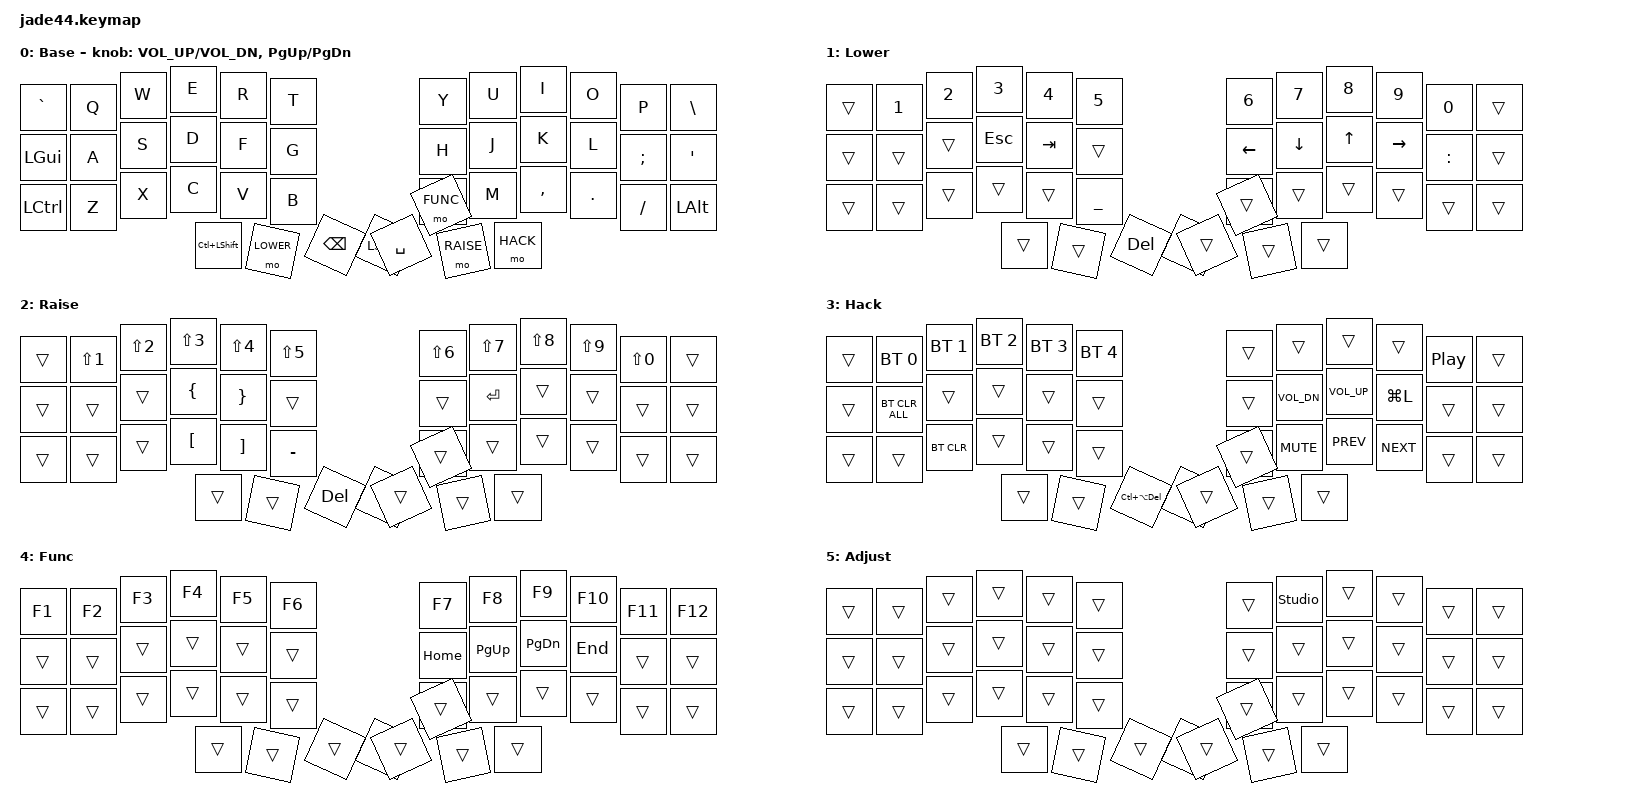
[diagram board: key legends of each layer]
#include <behaviors.dtsi>
#include <dt-bindings/zmk/bt.h>
#include <dt-bindings/zmk/keys.h>

#define BASE   0
#define LOWER  1
#define RAISE  2
#define HACK   3
#define FUNC   4
#define ADJUST 5

/ {
  conditional_layers {
    compatible = "zmk,conditional-layers";
    adjust_layer {
      if-layers = <LOWER RAISE>;
      then-layer = <ADJUST>;
    };
  };
};

/ {
  keymap {
    compatible = "zmk,keymap";

    base_layer {
      display-name = "Base";

      bindings = <
        &kp GRAVE  &kp Q  &kp W          &kp E      &kp R     &kp T            &kp Y     &kp U      &kp I      &kp O     &kp P     &kp BSLH
        &kp LGUI   &kp A  &kp S          &kp D      &kp F     &kp G            &kp H     &kp J      &kp K      &kp L     &kp SEMI  &kp SINGLE_QUOTE
        &kp LCTRL  &kp Z  &kp X          &kp C      &kp V     &kp B            &kp N     &kp M      &kp COMMA  &kp DOT   &kp FSLH  &kp LALT
                          &kp LC(LSHFT)  &mo LOWER  &kp BSPC  &kp LSHFT        &mo FUNC  &kp SPACE  &mo RAISE  &mo HACK
      >;
      
      sensor-bindings = <&inc_dec_kp C_VOL_UP C_VOL_DN &inc_dec_kp PG_UP PG_DN>;
    };

    lower_layer {
      display-name = "Lower";

      bindings = <
        &trans  &kp N1  &kp N2  &kp N3   &kp N4   &kp N5           &kp N6    &kp N7    &kp N8  &kp N9     &kp N0     &trans
        &trans  &trans  &trans  &kp ESC  &kp TAB  &trans           &kp LEFT  &kp DOWN  &kp UP  &kp RIGHT  &kp COLON  &trans
        &trans  &trans  &trans  &trans   &trans   &kp UNDER        &kp PLUS  &trans    &trans  &trans     &trans     &trans
                        &trans  &trans   &kp DEL  &trans           &trans    &trans    &trans  &trans
      >;
    };

    raise_layer {
      display-name = "Raise";

      bindings = <
        &trans  &kp LS(N1)  &kp LS(N2)  &kp LS(N3)        &kp LS(N4)         &kp LS(N5)        &kp LS(N6)  &kp LS(N7)  &kp LS(N8)  &kp LS(N9)  &kp LS(N0)  &trans
        &trans  &trans      &trans      &kp LEFT_BRACE    &kp RIGHT_BRACE    &trans            &trans      &kp ENTER   &trans      &trans      &trans      &trans
        &trans  &trans      &trans      &kp LEFT_BRACKET  &kp RIGHT_BRACKET  &kp MINUS         &kp EQUAL   &trans      &trans      &trans      &trans      &trans
                            &trans      &trans            &kp DEL            &trans            &trans      &trans      &trans      &trans
      >;
    };

    hack_layer {
      display-name = "Hack";

      bindings = <
        &trans  &bt BT_SEL 0    &bt BT_SEL 1  &bt BT_SEL 2  &bt BT_SEL 3     &bt BT_SEL 4        &trans  &trans        &trans        &trans      &kp C_PP  &trans
        &trans  &bt BT_CLR_ALL  &trans        &trans        &trans           &trans              &trans  &kp C_VOL_DN  &kp C_VOL_UP  &kp LG(L)   &trans    &trans
        &trans  &trans          &bt BT_CLR    &trans        &trans           &trans              &trans  &kp C_MUTE    &kp C_PREV    &kp C_NEXT  &trans    &trans
                                &trans        &trans        &kp LC(LA(DEL))  &trans              &trans  &trans        &trans        &trans
      >;
    };

    func_layer {
      display-name = "Func";

      bindings = <
        &kp F1  &kp F2  &kp F3  &kp F4  &kp F5  &kp F6        &kp F7    &kp F8     &kp F9     &kp F10  &kp F11  &kp F12
        &trans  &trans  &trans  &trans  &trans  &trans        &kp HOME  &kp PG_UP  &kp PG_DN  &kp END  &trans   &trans
        &trans  &trans  &trans  &trans  &trans  &trans        &trans    &trans     &trans     &trans   &trans   &trans
                        &trans  &trans  &trans  &trans        &trans    &trans     &trans     &trans
      >;
    };

    adjust_layer {
      display-name = "Adjust";

      bindings = <
        &trans  &trans  &trans  &trans  &trans  &trans        &trans    &studio_unlock  &trans     &trans   &trans   &trans
        &trans  &trans  &trans  &trans  &trans  &trans        &trans    &trans          &trans     &trans   &trans   &trans
        &trans  &trans  &trans  &trans  &trans  &trans        &trans    &trans          &trans     &trans   &trans   &trans
                        &trans  &trans  &trans  &trans        &trans    &trans          &trans     &trans
      >;
    };
  };
};
